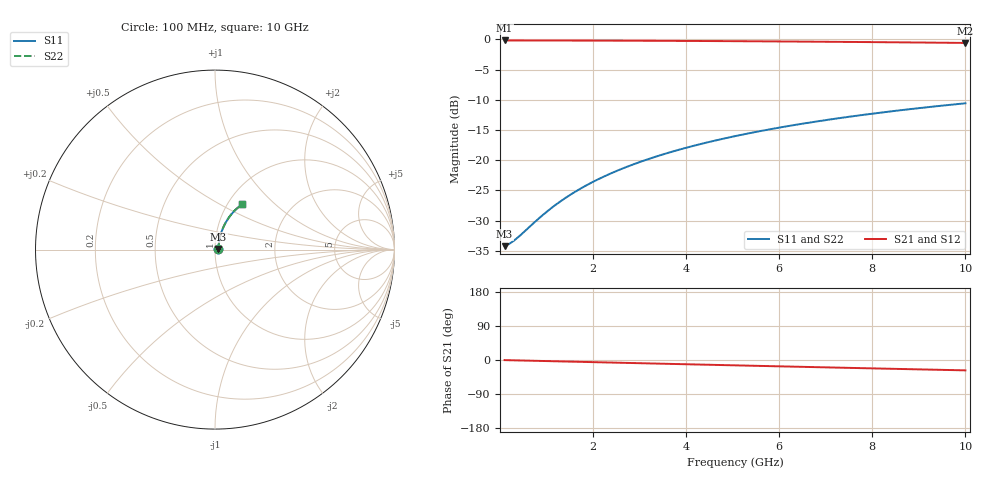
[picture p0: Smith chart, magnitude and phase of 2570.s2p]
# Hz S RI R 50.00
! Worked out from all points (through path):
!   100 points, 100 MHz to 10 GHz, reference 50 ohm
!   highest |S21| = -0.17 dB at 100 MHz (marker M1); lowest = -0.6 dB at 10 GHz (marker M2)
!   group delay of S21, straight-line fit = 7.61 ps
!   lowest |S11| = -34.2 dB at 100 MHz (marker M3), VSWR 1.04, Z = 52 + j0.32 ohm
!   |S11| at or under -10 dB: start of sweep to end of sweep
!   |S22| runs from -34.2 to -10.6 dB; largest |S21 - S12| = 0
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1e8  0.0192 0.00307  0.9808 -0.00483  0.9808 -0.00483  0.0192 0.00307
2e8  0.0193 0.00615  0.9806 -0.00965  0.9806 -0.00965  0.0193 0.00615
3e8  0.0195 0.00922  0.9805 -0.0145  0.9805 -0.0145  0.0195 0.00922
4e8  0.0197 0.0123  0.9803 -0.0193  0.9803 -0.0193  0.0197 0.0123
9e8  0.0209 0.0276  0.9789 -0.0434  0.9789 -0.0434  0.0209 0.0276
1.2e9  0.022 0.0367  0.9778 -0.0578  0.9778 -0.0578  0.022 0.0367
1.5e9  0.0233 0.0458  0.9763 -0.0721  0.9763 -0.0721  0.0233 0.0458
1.8e9  0.0249 0.0549  0.9746 -0.0864  0.9746 -0.0864  0.0249 0.0549
2.1e9  0.0267 0.0639  0.9726 -0.1007  0.9726 -0.1007  0.0267 0.0639
2.5e9  0.0295 0.0757  0.9695 -0.1196  0.9695 -0.1196  0.0295 0.0757
2.9e9  0.0328 0.0875  0.9658 -0.1383  0.9658 -0.1383  0.0328 0.0875
3.4e9  0.0375 0.1019  0.9606 -0.1615  0.9606 -0.1615  0.0375 0.1019
3.8e9  0.0418 0.1132  0.9559 -0.1799  0.9559 -0.1799  0.0418 0.1132
4.2e9  0.0465 0.1244  0.9507 -0.198  0.9507 -0.198  0.0465 0.1244
4.6e9  0.0516 0.1353  0.9451 -0.216  0.9451 -0.216  0.0516 0.1353
5.1e9  0.0585 0.1486  0.9374 -0.2381  0.9374 -0.2381  0.0585 0.1486
5.9e9  0.0708 0.169  0.9237 -0.2725  0.9237 -0.2725  0.0708 0.169
6.7e9  0.0845 0.1882  0.9084 -0.3059  0.9084 -0.3059  0.0845 0.1882
7.5e9  0.0994 0.2062  0.8916 -0.338  0.8916 -0.338  0.0994 0.2062
8.4e9  0.1176 0.2248  0.8712 -0.3725  0.8712 -0.3725  0.1176 0.2248
9.2e9  0.1348 0.2398  0.8517 -0.4017  0.8517 -0.4017  0.1348 0.2398
1e10  0.1529 0.2534  0.8312 -0.4295  0.8312 -0.4295  0.1529 0.2534
